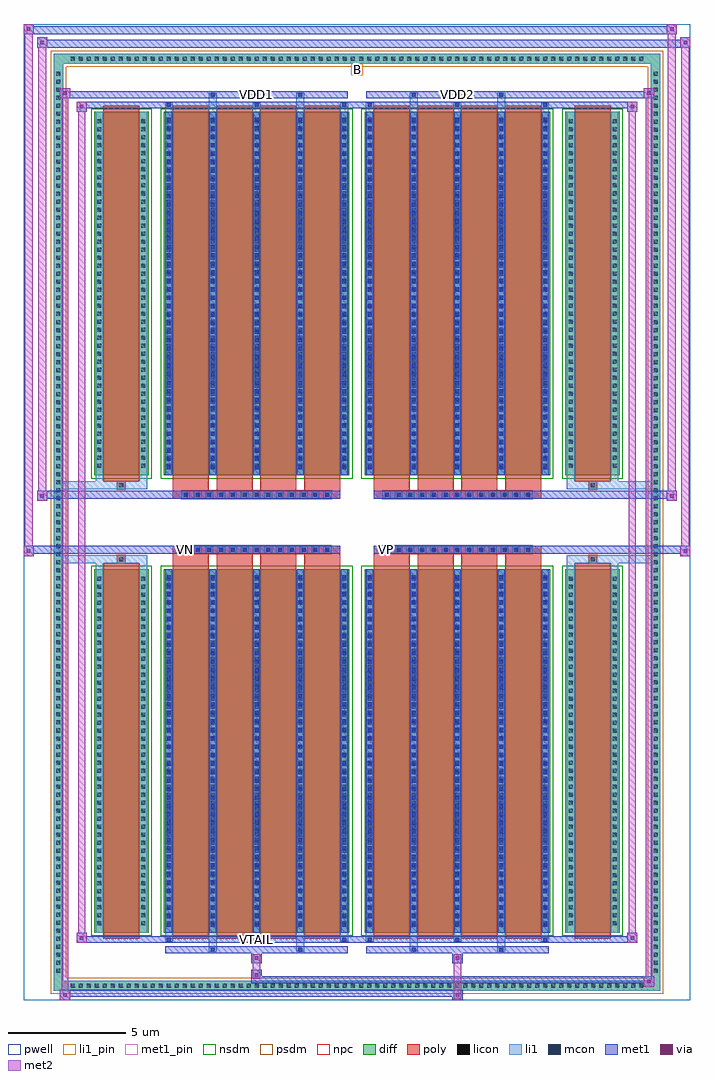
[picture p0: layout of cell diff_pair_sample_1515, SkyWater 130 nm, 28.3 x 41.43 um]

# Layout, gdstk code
import gdstk
lib = gdstk.Library(unit=1e-6, precision=5e-09)
def R(c, l, rs):  # rectangles x0, y0, x1, y1
    for r in rs: c.add(gdstk.rectangle(r[:2], r[2:], *l))
def A(c, l, x, y, w, h, nx, ny, dx, dy):  # array of equal rectangles
    R(c, l, [(x+i*dx, y+j*dy, x+i*dx+w, y+j*dy+h) for i in range(nx) for j in range(ny)])
def P(c, l, *ps):  # polygons
    for p in ps: c.add(gdstk.Polygon(p, *l))
pwell = (64, 44)
diff = (65, 20)
poly = (66, 20)
licon = (66, 44)
li1_pin = (67, 16)
li1 = (67, 20)
mcon = (67, 44)
met1_pin = (68, 16)
met1 = (68, 20)
via = (68, 44)
met2 = (69, 20)
nsdm = (93, 44)
psdm = (94, 20)
npc = (95, 20)

diff_pair_sample_1515 = lib.new_cell('diff_pair_sample_1515')
R(diff_pair_sample_1515, pwell, [(-14.15,-20.28,14.15,21.15), (-11.47,-18.47,-0.01,-0.805), (0.01,-18.47,11.47,-0.805), (-11.47,0.805,-0.01,18.47), (0.01,0.805,11.47,18.47)])
A(diff_pair_sample_1515, diff, -12.275, -19.88, 0.41, 0.41, 72, 2, 0.34, 39.35)
A(diff_pair_sample_1515, diff, -12.88, -19.245, 0.41, 0.41, 1, 113, 0, 0.34)
A(diff_pair_sample_1515, diff, 12.47, -19.245, 0.41, 0.41, 1, 113, 0, 0.34)
R(diff_pair_sample_1515, diff, [(-12.275,-19.88,12.275,-19.47), (-12.88,-19.245,-12.47,19.245), (12.47,-19.245,12.88,19.245), (-11.16,-17.425,-8.85,-1.985), (-8.21,-17.425,-0.32,-1.985), (0.32,-17.425,8.21,-1.985), (8.85,-17.425,11.16,-1.985), (-11.16,1.985,-8.85,17.425), (-8.21,1.985,-0.32,17.425), (0.32,1.985,8.21,17.425), (8.85,1.985,11.16,17.425), (-12.275,19.47,12.275,19.88)])
P(diff_pair_sample_1515, diff, [(12.88,19.88),(-12.88,19.88),(-12.88,-19.47),(-12.47,-19.47),(-12.47,19.47),(12.47,19.47),(12.47,-19.47),(-12.47,-19.47),(-12.88,-19.47),(-12.88,-19.88),(12.88,-19.88)])
A(diff_pair_sample_1515, poly, -7.82, -17.675, 1.53, 15.94, 4, 2, 1.86, 19.41)
A(diff_pair_sample_1515, poly, 0.71, -17.675, 1.53, 15.94, 4, 2, 1.86, 19.41)
A(diff_pair_sample_1515, poly, -7.82, -1.735, 1.53, 0.4, 4, 2, 1.86, 3.07)
A(diff_pair_sample_1515, poly, 0.71, -1.735, 1.53, 0.4, 4, 2, 1.86, 3.07)
A(diff_pair_sample_1515, poly, -7.43, -1.335, 0.33, 0.33, 13, 2, 0.5, 2.34)
A(diff_pair_sample_1515, poly, 1.1, -1.335, 0.33, 0.33, 13, 2, 0.5, 2.34)
R(diff_pair_sample_1515, poly, [(-10.77,-17.675,-9.24,-1.735), (9.24,-17.675,10.77,-1.735), (-10.17,-1.735,-9.84,-1.405), (-10.17,-1.735,-9.84,-1.405), (9.84,-1.735,10.17,-1.405), (9.84,-1.735,10.17,-1.405), (-7.82,-1.335,-0.71,-1.005), (0.71,-1.335,7.82,-1.005), (-7.82,1.005,-0.71,1.335), (0.71,1.005,7.82,1.335), (-10.17,1.405,-9.84,1.735), (-10.17,1.405,-9.84,1.735), (9.84,1.405,10.17,1.735), (9.84,1.405,10.17,1.735), (-10.77,1.735,-9.24,17.675), (9.24,1.735,10.77,17.675)])
A(diff_pair_sample_1515, licon, -12.155, -19.76, 0.17, 0.17, 72, 2, 0.34, 39.35)
A(diff_pair_sample_1515, licon, -12.76, -19.125, 0.17, 0.17, 1, 113, 0, 0.34)
A(diff_pair_sample_1515, licon, 12.59, -19.125, 0.17, 0.17, 1, 113, 0, 0.34)
A(diff_pair_sample_1515, licon, -11.02, -17.1, 0.17, 0.17, 1, 44, 0, 0.34)
A(diff_pair_sample_1515, licon, -9.16, -17.1, 0.17, 0.17, 1, 44, 0, 0.34)
A(diff_pair_sample_1515, licon, -8.07, -17.1, 0.17, 0.17, 5, 44, 1.86, 0.34)
A(diff_pair_sample_1515, licon, 0.46, -17.1, 0.17, 0.17, 5, 44, 1.86, 0.34)
A(diff_pair_sample_1515, licon, 8.99, -17.1, 0.17, 0.17, 1, 44, 0, 0.34)
A(diff_pair_sample_1515, licon, 10.85, -17.1, 0.17, 0.17, 1, 44, 0, 0.34)
A(diff_pair_sample_1515, licon, -7.35, -1.255, 0.17, 0.17, 13, 2, 0.5, 2.34)
A(diff_pair_sample_1515, licon, 1.18, -1.255, 0.17, 0.17, 13, 2, 0.5, 2.34)
A(diff_pair_sample_1515, licon, -11.02, 2.31, 0.17, 0.17, 1, 44, 0, 0.34)
A(diff_pair_sample_1515, licon, -9.16, 2.31, 0.17, 0.17, 1, 44, 0, 0.34)
A(diff_pair_sample_1515, licon, -8.07, 2.31, 0.17, 0.17, 5, 44, 1.86, 0.34)
A(diff_pair_sample_1515, licon, 0.46, 2.31, 0.17, 0.17, 5, 44, 1.86, 0.34)
A(diff_pair_sample_1515, licon, 8.99, 2.31, 0.17, 0.17, 1, 44, 0, 0.34)
A(diff_pair_sample_1515, licon, 10.85, 2.31, 0.17, 0.17, 1, 44, 0, 0.34)
R(diff_pair_sample_1515, licon, [(-10.09,-1.655,-9.92,-1.485), (9.92,-1.655,10.09,-1.485), (-10.09,1.485,-9.92,1.655), (9.92,1.485,10.09,1.655)])
R(diff_pair_sample_1515, li1_pin, [(-0.25,18.97,0.25,19.47)])
A(diff_pair_sample_1515, li1, -12.235, -19.84, 0.33, 0.33, 72, 2, 0.34, 39.35)
A(diff_pair_sample_1515, li1, -12.84, -19.205, 0.33, 0.33, 1, 113, 0, 0.34)
A(diff_pair_sample_1515, li1, 12.51, -19.205, 0.33, 0.33, 1, 113, 0, 0.34)
A(diff_pair_sample_1515, li1, -8.15, -17.8, 0.33, 0.375, 3, 2, 3.72, 35.225)
A(diff_pair_sample_1515, li1, -8.07, -17.8, 0.17, 0.17, 3, 2, 3.72, 35.43)
A(diff_pair_sample_1515, li1, 0.38, -17.8, 0.33, 0.375, 3, 2, 3.72, 35.225)
A(diff_pair_sample_1515, li1, 0.46, -17.8, 0.17, 0.17, 3, 2, 3.72, 35.43)
A(diff_pair_sample_1515, li1, -8.15, -17.425, 0.33, 15.44, 5, 2, 1.86, 19.41)
A(diff_pair_sample_1515, li1, 0.38, -17.425, 0.33, 15.44, 5, 2, 1.86, 19.41)
A(diff_pair_sample_1515, li1, -11.1, -17.18, 0.33, 0.33, 1, 44, 0, 0.34)
A(diff_pair_sample_1515, li1, -9.24, -17.18, 0.33, 0.33, 1, 44, 0, 0.34)
A(diff_pair_sample_1515, li1, -8.15, -17.18, 0.33, 0.33, 5, 44, 1.86, 0.34)
A(diff_pair_sample_1515, li1, 0.38, -17.18, 0.33, 0.33, 5, 44, 1.86, 0.34)
A(diff_pair_sample_1515, li1, 8.91, -17.18, 0.33, 0.33, 1, 44, 0, 0.34)
A(diff_pair_sample_1515, li1, 10.77, -17.18, 0.33, 0.33, 1, 44, 0, 0.34)
A(diff_pair_sample_1515, li1, -8.07, -17.17, 0.17, 0.17, 5, 42, 1.86, 0.36)
A(diff_pair_sample_1515, li1, -8.07, -17.17, 0.17, 14.93, 5, 2, 1.86, 19.41)
A(diff_pair_sample_1515, li1, 0.46, -17.17, 0.17, 0.17, 5, 42, 1.86, 0.36)
A(diff_pair_sample_1515, li1, 0.46, -17.17, 0.17, 14.93, 5, 2, 1.86, 19.41)
A(diff_pair_sample_1515, li1, -7.43, -1.335, 0.33, 0.33, 13, 2, 0.5, 2.34)
A(diff_pair_sample_1515, li1, 1.1, -1.335, 0.33, 0.33, 13, 2, 0.5, 2.34)
A(diff_pair_sample_1515, li1, -11.1, 2.23, 0.33, 0.33, 1, 44, 0, 0.34)
A(diff_pair_sample_1515, li1, -9.24, 2.23, 0.33, 0.33, 1, 44, 0, 0.34)
A(diff_pair_sample_1515, li1, -8.15, 2.23, 0.33, 0.33, 5, 44, 1.86, 0.34)
A(diff_pair_sample_1515, li1, 0.38, 2.23, 0.33, 0.33, 5, 44, 1.86, 0.34)
A(diff_pair_sample_1515, li1, 8.91, 2.23, 0.33, 0.33, 1, 44, 0, 0.34)
A(diff_pair_sample_1515, li1, 10.77, 2.23, 0.33, 0.33, 1, 44, 0, 0.34)
A(diff_pair_sample_1515, li1, -8.07, 2.24, 0.17, 0.17, 5, 42, 1.86, 0.36)
A(diff_pair_sample_1515, li1, 0.46, 2.24, 0.17, 0.17, 5, 42, 1.86, 0.36)
R(diff_pair_sample_1515, li1, [(-12.88,-19.88,-12.47,-19.47), (-12.88,-19.88,-12.47,-19.47), (-12.47,-19.88,12.47,-19.47), (12.47,-19.88,12.88,-19.47), (12.47,-19.88,12.88,-19.47), (-12.88,-19.47,-12.47,19.47), (12.47,-19.47,12.88,19.47), (-6.29,-18.23,-5.96,-17.425), (-6.21,-18.23,-6.04,-18.06), (-2.57,-18.23,-2.24,-17.425), (-2.49,-18.23,-2.32,-18.06), (2.24,-18.23,2.57,-17.425), (2.32,-18.23,2.49,-18.06), (5.96,-18.23,6.29,-17.425), (6.04,-18.23,6.21,-18.06), (-11.1,-17.425,-10.77,-1.985), (-9.24,-17.425,-8.91,-1.985), (8.91,-17.425,9.24,-1.985), (10.77,-17.425,11.1,-1.985), (-11.1,-1.985,-10.77,-1.405), (-9.24,-1.985,-8.91,-1.405), (8.91,-1.985,9.24,-1.405), (10.77,-1.985,11.1,-1.405), (-12.88,-1.735,-10.17,-1.405), (-11.1,-1.735,-10.17,-1.405), (-10.17,-1.735,-9.84,-1.405), (-9.84,-1.735,-8.91,-1.405), (8.91,-1.735,9.84,-1.405), (9.84,-1.735,10.17,-1.405), (9.84,-1.735,12.88,-1.405), (10.17,-1.735,11.1,-1.405), (-12.88,1.405,-10.17,1.735), (-11.1,1.405,-10.17,1.735), (-11.1,1.405,-10.77,1.985), (-10.17,1.405,-9.84,1.735), (-9.84,1.405,-8.91,1.735), (-9.24,1.405,-8.91,1.985), (8.91,1.405,9.84,1.735), (8.91,1.405,9.24,1.985), (9.84,1.405,10.17,1.735), (9.84,1.405,12.88,1.735), (10.17,1.405,11.1,1.735), (10.77,1.405,11.1,1.985), (-11.1,1.985,-10.77,17.425), (-9.24,1.985,-8.91,17.425), (8.91,1.985,9.24,17.425), (10.77,1.985,11.1,17.425), (-6.29,17.425,-5.96,18.23), (-2.57,17.425,-2.24,18.23), (2.24,17.425,2.57,18.23), (5.96,17.425,6.29,18.23), (-6.21,18.06,-6.04,18.23), (-2.49,18.06,-2.32,18.23), (2.32,18.06,2.49,18.23), (6.04,18.06,6.21,18.23), (-12.88,19.47,-12.47,19.88), (-12.88,19.47,-12.47,19.88), (-12.47,19.47,12.47,19.88), (12.47,19.47,12.88,19.88), (12.47,19.47,12.88,19.88)])
A(diff_pair_sample_1515, mcon, -8.07, -17.8, 0.17, 0.17, 3, 2, 3.72, 35.43)
A(diff_pair_sample_1515, mcon, 0.46, -17.8, 0.17, 0.17, 3, 2, 3.72, 35.43)
A(diff_pair_sample_1515, mcon, -8.07, -17.17, 0.17, 0.17, 5, 42, 1.86, 0.36)
A(diff_pair_sample_1515, mcon, 0.46, -17.17, 0.17, 0.17, 5, 42, 1.86, 0.36)
A(diff_pair_sample_1515, mcon, -7.35, -1.255, 0.17, 0.17, 13, 2, 0.5, 2.34)
A(diff_pair_sample_1515, mcon, 1.18, -1.255, 0.17, 0.17, 13, 2, 0.5, 2.34)
A(diff_pair_sample_1515, mcon, -8.07, 2.24, 0.17, 0.17, 5, 42, 1.86, 0.36)
A(diff_pair_sample_1515, mcon, 0.46, 2.24, 0.17, 0.17, 5, 42, 1.86, 0.36)
R(diff_pair_sample_1515, mcon, [(-6.21,-18.23,-6.04,-18.06), (-2.49,-18.23,-2.32,-18.06), (2.32,-18.23,2.49,-18.06), (6.04,-18.23,6.21,-18.06), (-6.21,18.06,-6.04,18.23), (-2.49,18.06,-2.32,18.23), (2.32,18.06,2.49,18.23), (6.04,18.06,6.21,18.23)])
R(diff_pair_sample_1515, met1_pin, [(-4.4,-17.84,-4.13,-17.57), (-7.4,-1.295,-7.13,-1.025), (1.13,-1.295,1.4,-1.025), (-4.4,18.02,-4.13,18.29), (4.13,18.02,4.4,18.29)])
A(diff_pair_sample_1515, met1, -8.13, -17.86, 0.29, 0.29, 3, 2, 3.72, 35.43)
A(diff_pair_sample_1515, met1, 0.4, -17.86, 0.29, 0.29, 3, 2, 3.72, 35.43)
A(diff_pair_sample_1515, met1, -8.13, -17.425, 0.29, 15.44, 5, 2, 1.86, 19.41)
A(diff_pair_sample_1515, met1, 0.4, -17.425, 0.29, 15.44, 5, 2, 1.86, 19.41)
A(diff_pair_sample_1515, met1, -8.13, -17.23, 0.29, 0.29, 5, 42, 1.86, 0.36)
A(diff_pair_sample_1515, met1, 0.4, -17.23, 0.29, 0.29, 5, 42, 1.86, 0.36)
A(diff_pair_sample_1515, met1, -7.41, -1.315, 0.29, 0.29, 13, 2, 0.5, 2.34)
A(diff_pair_sample_1515, met1, 1.12, -1.315, 0.29, 0.29, 13, 2, 0.5, 2.34)
A(diff_pair_sample_1515, met1, -8.13, 2.18, 0.29, 0.29, 5, 42, 1.86, 0.36)
A(diff_pair_sample_1515, met1, 0.4, 2.18, 0.29, 0.29, 5, 42, 1.86, 0.36)
R(diff_pair_sample_1515, met1, [(-12.61,-20.28,-12.18,-19.85), (4.05,-20.28,4.48,-19.85), (-12.61,-20.14,4.48,-19.85), (12.18,-19.71,12.61,-19.28), (-4.48,-19.57,12.61,-19.28), (-4.48,-19.43,-4.05,-19), (-4.48,-18.72,-4.05,-18.29), (4.05,-18.72,4.48,-18.29), (-8.13,-18.29,-0.4,-18), (-6.27,-18.29,-5.98,-18), (-2.55,-18.29,-2.26,-18), (0.4,-18.29,8.13,-18), (2.26,-18.29,2.55,-18), (5.98,-18.29,6.27,-18), (-11.9,-17.86,-11.47,-17.43), (-11.9,-17.86,-8.13,-17.57), (-8.13,-17.86,-0.4,-17.57), (-0.4,-17.86,0.4,-17.57), (0.4,-17.86,8.13,-17.57), (8.13,-17.86,11.9,-17.57), (11.47,-17.86,11.9,-17.43), (-14.15,-1.435,-13.72,-1.005), (13.72,-1.435,14.15,-1.005), (-14.15,-1.335,-0.71,-1.005), (-7.82,-1.335,-0.71,-1.005), (0.71,-1.335,7.82,-1.005), (0.71,-1.335,14.15,-1.005), (-13.58,0.905,-13.15,1.335), (13.15,0.905,13.58,1.335), (-13.58,1.005,-7.82,1.335), (-7.82,1.005,-0.71,1.335), (0.71,1.005,7.82,1.335), (7.82,1.005,13.58,1.335), (-11.9,17.43,-11.47,17.86), (11.47,17.43,11.9,17.86), (-11.9,17.57,-8.13,17.86), (-8.13,17.57,-0.4,17.86), (-0.4,17.57,0.4,17.86), (0.4,17.57,8.13,17.86), (8.13,17.57,11.9,17.86), (-12.61,18,-12.18,18.43), (-12.61,18,-8.13,18.29), (-8.13,18,-0.4,18.29), (-6.27,18,-5.98,18.29), (-2.55,18,-2.26,18.29), (0.4,18,8.13,18.29), (2.26,18,2.55,18.29), (5.98,18,6.27,18.29), (8.13,18,12.61,18.29), (12.18,18,12.61,18.43), (-13.58,20.15,-13.15,20.58), (-13.58,20.15,-11.47,20.48), (-11.47,20.15,11.47,20.48), (11.47,20.15,14.15,20.48), (13.72,20.15,14.15,20.58), (-14.15,20.72,-13.72,21.15), (-14.15,20.72,-11.47,21.05), (-11.47,20.72,11.47,21.05), (11.47,20.72,13.58,21.05), (13.15,20.72,13.58,21.15)])
R(diff_pair_sample_1515, via, [(-12.47,-20.14,-12.32,-19.99), (4.19,-20.14,4.34,-19.99), (12.32,-19.57,12.47,-19.42), (-4.34,-19.29,-4.19,-19.14), (-4.34,-18.58,-4.19,-18.43), (4.19,-18.58,4.34,-18.43), (-11.76,-17.72,-11.61,-17.57), (11.61,-17.72,11.76,-17.57), (-14.01,-1.295,-13.86,-1.145), (13.86,-1.295,14.01,-1.145), (-13.44,1.045,-13.29,1.195), (13.29,1.045,13.44,1.195), (-11.76,17.57,-11.61,17.72), (11.61,17.57,11.76,17.72), (-12.47,18.14,-12.32,18.29), (12.32,18.14,12.47,18.29), (-13.44,20.29,-13.29,20.44), (13.86,20.29,14.01,20.44), (-14.01,20.86,-13.86,21.01), (13.29,20.86,13.44,21.01)])
R(diff_pair_sample_1515, met2, [(-12.61,-20.28,-12.18,-19.85), (-12.54,-20.28,-12.25,18.43), (-12.25,-20.28,-12.18,-19.85), (-12.56,-20.23,-12.23,-19.9), (4.1,-20.23,4.43,-19.9), (4.1,-19.9,4.43,-18.67), (12.18,-19.71,12.61,-19.28), (12.25,-19.71,12.54,18.43), (12.54,-19.71,12.61,-19.28), (12.23,-19.66,12.56,-19.33), (-4.43,-19.38,-4.1,-19.05), (-4.43,-19.05,-4.1,-18.67), (-4.43,-18.67,-4.1,-18.34), (4.1,-18.67,4.43,-18.34), (-11.9,-17.86,-11.47,-17.43), (-11.83,-17.86,-11.54,17.86), (-11.54,-17.86,-11.47,-17.43), (11.47,-17.86,11.9,-17.43), (11.54,-17.86,11.83,17.86), (11.83,-17.86,11.9,-17.43), (-11.85,-17.81,-11.52,-17.48), (11.52,-17.81,11.85,-17.48), (-14.15,-1.435,-13.72,-1.005), (-14.1,-1.435,-13.77,21.15), (-13.77,-1.435,-13.72,-1.005), (13.72,-1.435,14.15,-1.005), (13.77,-1.435,14.1,20.58), (14.1,-1.435,14.15,-1.005), (-14.1,-1.385,-13.77,-1.055), (13.77,-1.385,14.1,-1.055), (-13.58,0.905,-13.15,1.335), (-13.53,0.905,-13.2,20.58), (-13.2,0.905,-13.15,1.335), (13.15,0.905,13.58,1.335), (13.2,0.905,13.53,21.15), (13.53,0.905,13.58,1.335), (-13.53,0.955,-13.2,1.285), (13.2,0.955,13.53,1.285), (-11.9,17.43,-11.47,17.86), (-11.54,17.43,-11.47,17.86), (11.47,17.43,11.9,17.86), (11.83,17.43,11.9,17.86), (-11.85,17.48,-11.52,17.81), (11.52,17.48,11.85,17.81), (-12.61,18,-12.18,18.43), (-12.25,18,-12.18,18.43), (12.18,18,12.61,18.43), (12.54,18,12.61,18.43), (-12.56,18.05,-12.23,18.38), (12.23,18.05,12.56,18.38), (-13.58,20.15,-13.15,20.58), (-13.2,20.15,-13.15,20.58), (13.72,20.15,14.15,20.58), (14.1,20.15,14.15,20.58), (-13.53,20.2,-13.2,20.53), (13.77,20.2,14.1,20.53), (-14.15,20.72,-13.72,21.15), (-13.77,20.72,-13.72,21.15), (13.15,20.72,13.58,21.15), (13.53,20.72,13.58,21.15), (-14.1,20.77,-13.77,21.1), (13.2,20.77,13.53,21.1)])
R(diff_pair_sample_1515, nsdm, [(-11.29,-17.555,-8.72,-1.855), (-8.34,-17.555,-0.19,-1.855), (0.19,-17.555,8.34,-1.855), (8.72,-17.555,11.29,-1.855), (-11.29,1.855,-8.72,17.555), (-8.34,1.855,-0.19,17.555), (0.19,1.855,8.34,17.555), (8.72,1.855,11.29,17.555)])
P(diff_pair_sample_1515, psdm, [(13.01,20.01),(-13.01,20.01),(-13.01,-19.34),(-12.34,-19.34),(-12.34,19.34),(12.34,19.34),(12.34,-19.34),(-12.34,-19.34),(-13.01,-19.34),(-13.01,-20.01),(13.01,-20.01)])
A(diff_pair_sample_1515, npc, -7.45, -1.355, 0.37, 0.37, 13, 2, 0.5, 2.34)
A(diff_pair_sample_1515, npc, 1.08, -1.355, 0.37, 0.37, 13, 2, 0.5, 2.34)
R(diff_pair_sample_1515, npc, [(-10.19,-1.755,-9.82,-1.385), (9.82,-1.755,10.19,-1.385), (-7.45,-1.355,-6.58,-0.985), (-7.45,-1.355,-6.58,-0.985), (-6.95,-1.355,-6.08,-0.985), (-6.95,-1.355,-6.08,-0.985), (-6.45,-1.355,-5.58,-0.985), (-6.45,-1.355,-5.58,-0.985), (-5.95,-1.355,-5.08,-0.985), (-5.95,-1.355,-5.08,-0.985), (-5.45,-1.355,-4.58,-0.985), (-5.45,-1.355,-4.58,-0.985), (-4.95,-1.355,-4.08,-0.985), (-4.95,-1.355,-4.08,-0.985), (-4.45,-1.355,-3.58,-0.985), (-4.45,-1.355,-3.58,-0.985), (-3.95,-1.355,-3.08,-0.985), (-3.95,-1.355,-3.08,-0.985), (-3.45,-1.355,-2.58,-0.985), (-3.45,-1.355,-2.58,-0.985), (-2.95,-1.355,-2.08,-0.985), (-2.95,-1.355,-2.08,-0.985), (-2.45,-1.355,-1.58,-0.985), (-2.45,-1.355,-1.58,-0.985), (-1.95,-1.355,-1.08,-0.985), (-1.95,-1.355,-1.08,-0.985), (1.08,-1.355,1.95,-0.985), (1.08,-1.355,1.95,-0.985), (1.58,-1.355,2.45,-0.985), (1.58,-1.355,2.45,-0.985), (2.08,-1.355,2.95,-0.985), (2.08,-1.355,2.95,-0.985), (2.58,-1.355,3.45,-0.985), (2.58,-1.355,3.45,-0.985), (3.08,-1.355,3.95,-0.985), (3.08,-1.355,3.95,-0.985), (3.58,-1.355,4.45,-0.985), (3.58,-1.355,4.45,-0.985), (4.08,-1.355,4.95,-0.985), (4.08,-1.355,4.95,-0.985), (4.58,-1.355,5.45,-0.985), (4.58,-1.355,5.45,-0.985), (5.08,-1.355,5.95,-0.985), (5.08,-1.355,5.95,-0.985), (5.58,-1.355,6.45,-0.985), (5.58,-1.355,6.45,-0.985), (6.08,-1.355,6.95,-0.985), (6.08,-1.355,6.95,-0.985), (6.58,-1.355,7.45,-0.985), (6.58,-1.355,7.45,-0.985), (-7.45,0.985,-6.58,1.355), (-7.45,0.985,-6.58,1.355), (-6.95,0.985,-6.08,1.355), (-6.95,0.985,-6.08,1.355), (-6.45,0.985,-5.58,1.355), (-6.45,0.985,-5.58,1.355), (-5.95,0.985,-5.08,1.355), (-5.95,0.985,-5.08,1.355), (-5.45,0.985,-4.58,1.355), (-5.45,0.985,-4.58,1.355), (-4.95,0.985,-4.08,1.355), (-4.95,0.985,-4.08,1.355), (-4.45,0.985,-3.58,1.355), (-4.45,0.985,-3.58,1.355), (-3.95,0.985,-3.08,1.355), (-3.95,0.985,-3.08,1.355), (-3.45,0.985,-2.58,1.355), (-3.45,0.985,-2.58,1.355), (-2.95,0.985,-2.08,1.355), (-2.95,0.985,-2.08,1.355), (-2.45,0.985,-1.58,1.355), (-2.45,0.985,-1.58,1.355), (-1.95,0.985,-1.08,1.355), (-1.95,0.985,-1.08,1.355), (1.08,0.985,1.95,1.355), (1.08,0.985,1.95,1.355), (1.58,0.985,2.45,1.355), (1.58,0.985,2.45,1.355), (2.08,0.985,2.95,1.355), (2.08,0.985,2.95,1.355), (2.58,0.985,3.45,1.355), (2.58,0.985,3.45,1.355), (3.08,0.985,3.95,1.355), (3.08,0.985,3.95,1.355), (3.58,0.985,4.45,1.355), (3.58,0.985,4.45,1.355), (4.08,0.985,4.95,1.355), (4.08,0.985,4.95,1.355), (4.58,0.985,5.45,1.355), (4.58,0.985,5.45,1.355), (5.08,0.985,5.95,1.355), (5.08,0.985,5.95,1.355), (5.58,0.985,6.45,1.355), (5.58,0.985,6.45,1.355), (6.08,0.985,6.95,1.355), (6.08,0.985,6.95,1.355), (6.58,0.985,7.45,1.355), (6.58,0.985,7.45,1.355), (-10.19,1.385,-9.82,1.755), (9.82,1.385,10.19,1.755)])
diff_pair_sample_1515.add(gdstk.Label('VTAIL', (-4.265,-17.705), layer=68, texttype=5))
diff_pair_sample_1515.add(gdstk.Label('VN', (-7.265,-1.16), layer=68, texttype=5))
diff_pair_sample_1515.add(gdstk.Label('VP', (1.265,-1.16), layer=68, texttype=5))
diff_pair_sample_1515.add(gdstk.Label('B', (0,19.22), layer=67, texttype=5))
diff_pair_sample_1515.add(gdstk.Label('VDD2', (4.265,18.155), layer=68, texttype=5))
diff_pair_sample_1515.add(gdstk.Label('VDD1', (-4.265,18.155), layer=68, texttype=5))

lib.write_gds('diff_pair_sample_1515.gds')
